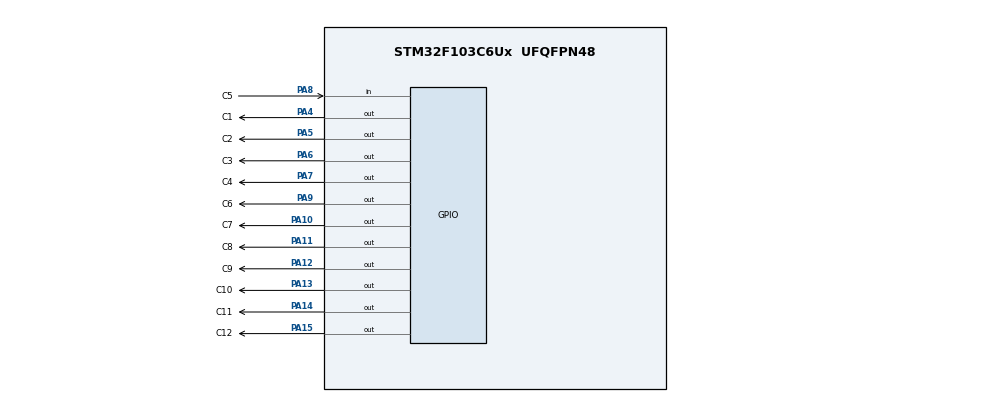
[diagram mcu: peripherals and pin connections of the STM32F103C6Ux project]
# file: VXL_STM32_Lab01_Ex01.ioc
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Mcu.Family=STM32F1
Mcu.Name=STM32F103C6Ux
Mcu.Package=UFQFPN48
NVIC.PriorityGroup=NVIC_PRIORITYGROUP_4
PA10.GPIO_Label=C7
PA10.Signal=GPIO_Output
PA11.GPIO_Label=C8
PA11.Signal=GPIO_Output
PA12.GPIO_Label=C9
PA12.Signal=GPIO_Output
PA13.GPIO_Label=C10
PA13.Signal=GPIO_Output
PA14.GPIO_Label=C11
PA14.Signal=GPIO_Output
PA15.GPIO_Label=C12
PA15.Signal=GPIO_Output
PA4.GPIO_Label=C1
PA4.Signal=GPIO_Output
PA5.GPIO_Label=C2
PA5.Signal=GPIO_Output
PA6.GPIO_Label=C3
PA6.Signal=GPIO_Output
PA7.GPIO_Label=C4
PA7.Signal=GPIO_Output
PA8.GPIO_Label=C5
PA8.Signal=GPIO_Input
PA9.GPIO_Label=C6
PA9.Signal=GPIO_Output
ProjectManager.HeapSize=0x200
ProjectManager.StackSize=0x400
ProjectManager.TargetToolchain=STM32CubeIDE
RCC.APB1Freq_Value=8000000
RCC.APB2Freq_Value=8000000
board=custom

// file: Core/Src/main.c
/* USER CODE BEGIN Header */
/**
  ******************************************************************************
  * @file           : main.c
  * @brief          : Main program body
  ******************************************************************************
  * @attention
  *
  * Copyright (c) 2023 STMicroelectronics.
  * All rights reserved.
  *
  * This software is licensed under terms that can be found in the LICENSE file
  * in the root directory of this software component.
  * If no LICENSE file comes with this software, it is provided AS-IS.
  *
  ******************************************************************************
  */
/* USER CODE END Header */
#include "main.h"

void SystemClock_Config(void);
static void MX_GPIO_Init(void);

/* USER CODE BEGIN 0 */
void clearAllClock(){
	HAL_GPIO_WritePin(C12_GPIO_Port, C12_Pin, RESET);
	HAL_GPIO_WritePin(C1_GPIO_Port, C1_Pin, RESET);
	HAL_GPIO_WritePin(C2_GPIO_Port, C2_Pin, RESET);
	HAL_GPIO_WritePin(C3_GPIO_Port, C3_Pin, RESET);
	HAL_GPIO_WritePin(C4_GPIO_Port, C4_Pin, RESET);
	HAL_GPIO_WritePin(C5_GPIO_Port, C5_Pin, RESET);
	HAL_GPIO_WritePin(C6_GPIO_Port, C6_Pin, RESET);
	HAL_GPIO_WritePin(C7_GPIO_Port, C7_Pin, RESET);
	HAL_GPIO_WritePin(C8_GPIO_Port, C8_Pin, RESET);
	HAL_GPIO_WritePin(C9_GPIO_Port, C9_Pin, RESET);
	HAL_GPIO_WritePin(C10_GPIO_Port, C10_Pin, RESET);
	HAL_GPIO_WritePin(C11_GPIO_Port, C11_Pin, RESET);
}

void setNumberOnClock(int n){
	if (n == 0){
		HAL_GPIO_WritePin(C12_GPIO_Port, C12_Pin, SET);
	}
	else if (n == 1){
		HAL_GPIO_WritePin(C1_GPIO_Port, C1_Pin, SET);
	}
	else if (n == 2){
		HAL_GPIO_WritePin(C2_GPIO_Port, C2_Pin, SET);
	}
	else if (n == 3){
		HAL_GPIO_WritePin(C3_GPIO_Port, C3_Pin, SET);
	}
	else if (n == 4){
		HAL_GPIO_WritePin(C4_GPIO_Port, C4_Pin, SET);
	}
	else if (n == 5){
		HAL_GPIO_WritePin(C5_GPIO_Port, C5_Pin, SET);
	}
	else if (n == 6){
		HAL_GPIO_WritePin(C6_GPIO_Port, C6_Pin, SET);
	}
	else if (n == 7){
		HAL_GPIO_WritePin(C7_GPIO_Port, C7_Pin, SET);
	}
	else if (n == 8){
		HAL_GPIO_WritePin(C8_GPIO_Port, C8_Pin, SET);
	}
	else if (n == 9){
		HAL_GPIO_WritePin(C9_GPIO_Port, C9_Pin, SET);
	}
	else if (n == 10){
		HAL_GPIO_WritePin(C10_GPIO_Port, C10_Pin, SET);
	}
	else if (n == 11){
		HAL_GPIO_WritePin(C11_GPIO_Port, C11_Pin, SET);
	}
	else {
		printf("Error number!");
	}
}

void clearNumberOnClock(int n){
	if (n == 0){
		HAL_GPIO_WritePin(C12_GPIO_Port, C12_Pin, RESET);
	}
	else if (n == 1){
		HAL_GPIO_WritePin(C1_GPIO_Port, C1_Pin, RESET);
	}
	else if (n == 2){
		HAL_GPIO_WritePin(C2_GPIO_Port, C2_Pin, RESET);
	}
	else if (n == 3){
		HAL_GPIO_WritePin(C3_GPIO_Port, C3_Pin, RESET);
	}
	else if (n == 4){
		HAL_GPIO_WritePin(C4_GPIO_Port, C4_Pin, RESET);
	}
	else if (n == 5){
		HAL_GPIO_WritePin(C5_GPIO_Port, C5_Pin, RESET);
	}
	else if (n == 6){
		HAL_GPIO_WritePin(C6_GPIO_Port, C6_Pin, RESET);
	}
	else if (n == 7){
		HAL_GPIO_WritePin(C7_GPIO_Port, C7_Pin, RESET);
	}
	else if (n == 8){
		HAL_GPIO_WritePin(C8_GPIO_Port, C8_Pin, RESET);
	}
	else if (n == 9){
		HAL_GPIO_WritePin(C9_GPIO_Port, C9_Pin, RESET);
	}
	else if (n == 10){
		HAL_GPIO_WritePin(C10_GPIO_Port, C10_Pin, RESET);
	}
	else if (n == 11){
		HAL_GPIO_WritePin(C11_GPIO_Port, C11_Pin, RESET);
	}
}

/* USER CODE END 0 */
int h_num = 6;
int m_num = 20;
int s_num = 0;
int s_counter = 2;
int m_blink_counter = 10;
int m_state = 0;

int main(void)
{

  /* MCU Configuration--------------------------------------------------------*/

  /* Reset of all peripherals, Initializes the Flash interface and the Systick. */
  HAL_Init();

  /* Configure the system clock */
  SystemClock_Config();

  /* Initialize all configured peripherals */
  MX_GPIO_Init();

  /* Infinite loop */
  /* USER CODE BEGIN WHILE */
  while (1)
  {
	  clearAllClock();
	  if (s_num >= 60){
		  s_num = 0;
		  m_num++;
		  if (m_num >= 60){
			  m_num = 0;
			  clearNumberOnClock(h_num);
			  h_num++;
			  if (h_num >=12){
				 h_num = 0;
			  }
		  }
	  }
	  if (s_counter <= 0){
		  s_num++;
		  s_counter = 2;
	  }
	  if (s_num % 5 == 0){
		  if (s_num / 5 == 0){
			  clearNumberOnClock(11);
		  }
	  else{
		  clearNumberOnClock(s_num / 5 - 1);
	  }
		  setNumberOnClock(s_num / 5);
	  }
	  setNumberOnClock(h_num);
	  if (m_blink_counter <= 0){
		  if (m_state == 0){
			  setNumberOnClock(m_num/5);
			  m_blink_counter = 1;
		  }
		  else{
			  clearNumberOnClock(m_num/5);
			  m_blink_counter = 0;
		  }
		  m_blink_counter = 10;
	  }
	  m_blink_counter--;
	  s_counter--;
	  HAL_Delay(10);
    /* USER CODE END WHILE */

  }
}

void SystemClock_Config(void)
{
  RCC_OscInitTypeDef RCC_OscInitStruct = {0};
  RCC_ClkInitTypeDef RCC_ClkInitStruct = {0};

  /** Initializes the RCC Oscillators according to the specified parameters
  * in the RCC_OscInitTypeDef structure.
  */
  RCC_OscInitStruct.OscillatorType = RCC_OSCILLATORTYPE_HSI;
  RCC_OscInitStruct.HSIState = RCC_HSI_ON;
  RCC_OscInitStruct.HSICalibrationValue = RCC_HSICALIBRATION_DEFAULT;
  RCC_OscInitStruct.PLL.PLLState = RCC_PLL_NONE;
  if (HAL_RCC_OscConfig(&RCC_OscInitStruct) != HAL_OK)
  {
    Error_Handler();
  }

  /** Initializes the CPU, AHB and APB buses clocks
  */
  RCC_ClkInitStruct.ClockType = RCC_CLOCKTYPE_HCLK|RCC_CLOCKTYPE_SYSCLK
                              |RCC_CLOCKTYPE_PCLK1|RCC_CLOCKTYPE_PCLK2;
  RCC_ClkInitStruct.SYSCLKSource = RCC_SYSCLKSOURCE_HSI;
  RCC_ClkInitStruct.AHBCLKDivider = RCC_SYSCLK_DIV1;
  RCC_ClkInitStruct.APB1CLKDivider = RCC_HCLK_DIV1;
  RCC_ClkInitStruct.APB2CLKDivider = RCC_HCLK_DIV1;

  if (HAL_RCC_ClockConfig(&RCC_ClkInitStruct, FLASH_LATENCY_0) != HAL_OK)
  {
    Error_Handler();
  }
}

static void MX_GPIO_Init(void)
{
  GPIO_InitTypeDef GPIO_InitStruct = {0};

  /* GPIO Ports Clock Enable */
  __HAL_RCC_GPIOA_CLK_ENABLE();

  /*Configure GPIO pin Output Level */
  HAL_GPIO_WritePin(GPIOA, C1_Pin|C2_Pin|C3_Pin|C4_Pin
                          |C6_Pin|C7_Pin|C8_Pin|C9_Pin
                          |C10_Pin|C11_Pin|C12_Pin, GPIO_PIN_RESET);

  /*Configure GPIO pins : C1_Pin C2_Pin C3_Pin C4_Pin
                           C6_Pin C7_Pin C8_Pin C9_Pin
                           C10_Pin C11_Pin C12_Pin */
  GPIO_InitStruct.Pin = C1_Pin|C2_Pin|C3_Pin|C4_Pin
                          |C6_Pin|C7_Pin|C8_Pin|C9_Pin
                          |C10_Pin|C11_Pin|C12_Pin;
  GPIO_InitStruct.Mode = GPIO_MODE_OUTPUT_PP;
  GPIO_InitStruct.Pull = GPIO_NOPULL;
  GPIO_InitStruct.Speed = GPIO_SPEED_FREQ_LOW;
  HAL_GPIO_Init(GPIOA, &GPIO_InitStruct);

  /*Configure GPIO pin : C5_Pin */
  GPIO_InitStruct.Pin = C5_Pin;
  GPIO_InitStruct.Mode = GPIO_MODE_INPUT;
  GPIO_InitStruct.Pull = GPIO_NOPULL;
  HAL_GPIO_Init(C5_GPIO_Port, &GPIO_InitStruct);

}

void Error_Handler(void)
{
  __disable_irq();
  while (1)
  {
  }
}
